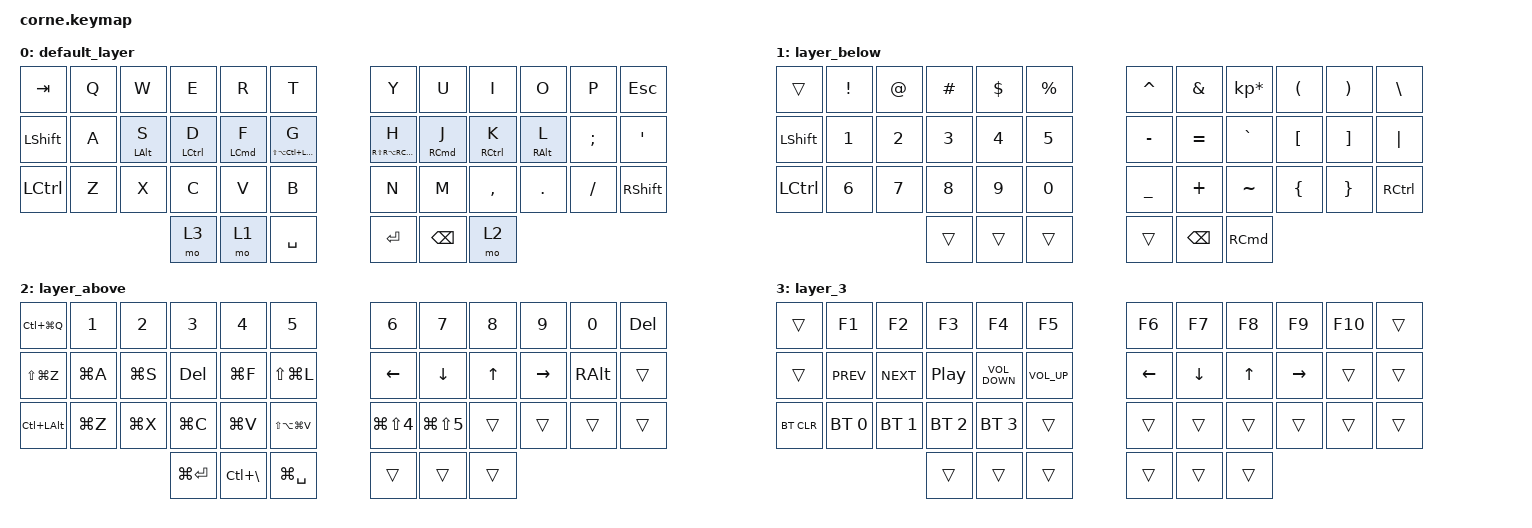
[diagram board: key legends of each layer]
/*
 * Copyright (c) 2020 The ZMK Contributors
 *
 * SPDX-License-Identifier: MIT
 */

#include <behaviors.dtsi>
#include <dt-bindings/zmk/bt.h>
#include <dt-bindings/zmk/keys.h>

/ {
    behaviors {
        tp: tap_preferred {
            compatible = "zmk,behavior-hold-tap";
            label = "TAP_PREFERRED";
            #binding-cells = <2>;
            tapping-term-ms = <150>;
            quick-tap-ms = <0>;
            flavor = "tap-preferred";
            bindings = <&kp>, <&kp>;
        };

        hm_left: hm_left {
            compatible = "zmk,behavior-hold-tap";
            label = "HOMEROW_MODS_LEFT";
            bindings = <&kp>, <&kp>;

            #binding-cells = <2>;
            tapping-term-ms = <300>;
            flavor = "tap-preferred";
            quick-tap-ms = <250>;
        };

        hm_right: hm_right {
            compatible = "zmk,behavior-hold-tap";
            label = "HOMEROW_MODS_RIGHT";
            bindings = <&kp>, <&kp>;

            #binding-cells = <2>;
            tapping-term-ms = <300>;
            flavor = "tap-preferred";
            quick-tap-ms = <250>;
        };
    };

    keymap {
        compatible = "zmk,keymap";

        default_layer {
            // -----------------------------------------------------------------------------------------
            // | TAB  |  Q  |  W  |  E  |  R  |    T    |   |  Y  |  U   |  I  |  O  |  P  | ESC |
            // | CTRL |  A  |  S  |  D  |  F  |    G    |   |  H  |  J   |  K  |  L  |  ;  |  '   |
            // | SHFT |  Z  |  X  |  C  |  V  |    B    |   |  N  |  M   |  ,  |  .  |  /  | SHFT |
            //                    | GUI | LWR | ALT/ENT |   | HYPER/SPC | BKSP  | RSE |

            bindings = <
&kp TAB           &kp Q  &kp W                &kp E                    &kp R                    &kp T                                  &kp Y                                  &kp U                      &kp I                      &kp O                  &kp P          &kp ESC
&kp LEFT_SHIFT    &kp A  &hm_left LEFT_ALT S  &hm_left LEFT_CONTROL D  &hm_left LEFT_COMMAND F  &hm_left LS(LA(LC(LEFT_COMMAND))) G    &hm_right RS(RA(RC(RIGHT_COMMAND))) H  &hm_right RIGHT_COMMAND J  &hm_right RIGHT_CONTROL K  &hm_right RIGHT_ALT L  &kp SEMICOLON  &kp SQT
&kp LEFT_CONTROL  &kp Z  &kp X                &kp C                    &kp V                    &kp B                                  &kp N                                  &kp M                      &kp COMMA                  &kp DOT                &kp FSLH       &kp RIGHT_SHIFT
                                              &mo 3                    &mo 1                    &kp SPACE                              &kp ENTER                              &kp BSPC                   &mo 2
            >;
        };

        layer_below {
            // -----------------------------------------------------------------------------------------
            // |      |  !  |  @  |  #  |  $  |    %     |   |  ^  |  &  |  *  |  (  |  )  |   \   |
            // |      |  1  |  2  |  3  |  4  |    5     |   |  -  |  =  |  `  |  [  |  ]  |  "|"  |
            // | SHFT |  6  |  7  |  8  |  9  |    0     |   |  _  |  +  |  ~  |  {  |  }  | RSHFT |
            //                     | GUI |     | ALT/ENT |   | HYPER/SPACE | BKSP |    |

            bindings = <
&trans            &kp EXCL  &kp AT  &kp HASH  &kp DLLR  &kp PRCNT    &kp CARET  &kp AMPS   &kp KP_MULTIPLY    &kp LPAR  &kp RPAR  &kp BSLH
&kp LEFT_SHIFT    &kp N1    &kp N2  &kp N3    &kp N4    &kp N5       &kp MINUS  &kp EQUAL  &kp GRAVE          &kp LBKT  &kp RBKT  &kp PIPE
&kp LEFT_CONTROL  &kp N6    &kp N7  &kp N8    &kp N9    &kp N0       &kp UNDER  &kp PLUS   &kp TILDE          &kp LBRC  &kp RBRC  &kp RCTRL
                                    &trans    &trans    &trans       &trans     &kp BSPC   &kp RIGHT_COMMAND
            >;
        };

        layer_above {
            // -----------------------------------------------------------------------------------------
            // |       |  F1  |  F2  |  F3  |  F4  |  F5 |            |  F6  |  F7  |  F8  |  F9  |  F10  |   |
            // |       | Prev | Next | Vol - | Vol + | Play/Pause |   |      | LFT | DWN |  UP | RGT |     |     |
            // | BTCLR | BT1 | BT2 | BT3 | BT4 | BT5 |   |            |     |     |     |     |     |     |
            //                    |     |     |    |                  |     |     |     |

            bindings = <
&kp LC(LG(Q))     &kp NUMBER_1  &kp NUMBER_2  &kp NUMBER_3   &kp NUMBER_4       &kp NUMBER_5         &kp NUMBER_6          &kp NUMBER_7          &kp NUMBER_8  &kp NUMBER_9  &kp NUMBER_0   &kp DEL
&kp LS(LG(Z))     &kp LG(A)     &kp LG(S)     &kp DEL        &kp LG(F)          &kp LS(LG(L))        &kp LEFT              &kp DOWN              &kp UP        &kp RIGHT     &kp RIGHT_ALT  &trans
&kp LC(LEFT_ALT)  &kp LG(Z)     &kp LG(X)     &kp LG(C)      &kp LG(V)          &kp LS(LA(LG(V)))    &kp LG(LS(NUMBER_4))  &kp LG(LS(NUMBER_5))  &trans        &trans        &trans         &trans
                                              &kp LG(ENTER)  &kp LC(BACKSLASH)  &kp LG(SPACE)        &trans                &trans                &trans
            >;
        };

        layer_3 {
            bindings = <
&trans      &kp F1        &kp F2        &kp F3            &kp F4             &kp F5             &kp F6          &kp F7          &kp F8        &kp F9           &kp F10  &trans
&trans      &kp C_PREV    &kp C_NEXT    &kp C_PLAY_PAUSE  &kp C_VOLUME_DOWN  &kp C_VOLUME_UP    &kp LEFT_ARROW  &kp DOWN_ARROW  &kp UP_ARROW  &kp RIGHT_ARROW  &trans   &trans
&bt BT_CLR  &bt BT_SEL 0  &bt BT_SEL 1  &bt BT_SEL 2      &bt BT_SEL 3       &trans             &trans          &trans          &trans        &trans           &trans   &trans
                                        &trans            &trans             &trans             &trans          &trans          &trans
            >;
        };
    };
};
